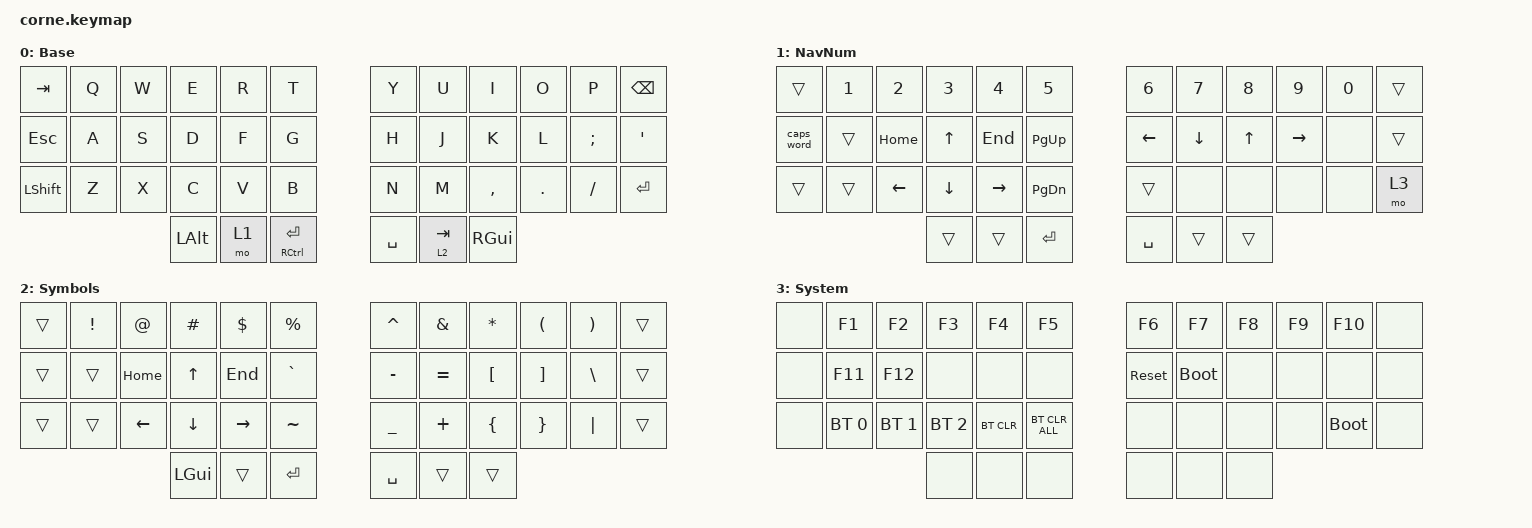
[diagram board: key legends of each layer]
#include <behaviors.dtsi>
#include <dt-bindings/zmk/bt.h>
#include <dt-bindings/zmk/keys.h>

#define DEF 0
#define NAV 1
#define SYM 2
#define ADJ 3

/ {
    behaviors {
        hm: homerow_mods {
            compatible = "zmk,behavior-hold-tap";
            label = "HOMEROW_MODS";
            #binding-cells = <2>;
            tapping-term-ms = <200>;
            quick_tap_ms = <0>;
            flavor = "tap-preferred";
            bindings = <&kp>, <&kp>;

            quick-tap-ms = <180>;
            global-quick-tap;
        };

        para: para {
            compatible = "zmk,behavior-tap-dance";
            label = "PARA";
            #binding-cells = <0>;
            bindings = <&kp LEFT_PARENTHESIS>, <&kp RIGHT_PARENTHESIS>;
        };

        caps: caps {
            compatible = "zmk,behavior-caps-word";
            label = "CAPS";
            #binding-cells = <0>;
            continue-list = <MINUS BACKSPACE>;
        };

        paraless: paraless {
            compatible = "zmk,behavior-mod-morph";
            label = "PARALESS";
            bindings = <&kp LEFT_PARENTHESIS>, <&kp LESS_THAN>;

            #binding-cells = <0>;
            mods = <(MOD_LSFT)>;
        };

        paragreat: paragreat {
            compatible = "zmk,behavior-mod-morph";
            label = "PARAGREAT";
            bindings = <&kp RIGHT_PARENTHESIS>, <&kp GREATER_THAN>;

            #binding-cells = <0>;
            mods = <(MOD_LSFT)>;
        };
    };

    combos {
        compatible = "zmk,combos";

        copy {
            bindings = <&kp K_COPY>;
            key-positions = <28 27>;
        };

        paste {
            bindings = <&kp K_PASTE>;
            key-positions = <26 27>;
        };
    };

    //

    keymap {
        compatible = "zmk,keymap";

        DEF {
            display-name = "Base";

            // -----------------------------------------------------------------------------------------
            // |  Q  |  W  |  E  |  R  |  T  |   |  Y  |  U   |  I  |  O  |  P  |
            // |  A  |  S  |  D  |  F  |  G  |   |  H  |  J   |  K  |  L  |  ;  |
            // |  Z  |  X  |  C  |  V  |  B  |   |  N  |  M   |  ,  |  .  |  /  |
            // | GUI | CTRL | SHFT | LWR | SPC |   | ENT | RSE  | BKSP | ALT | ESC |

            bindings = <
&kp TAB         &kp Q  &kp W  &kp E         &kp R  &kp T              &kp Y      &kp U      &kp I      &kp O    &kp P     &kp BACKSPACE
&kp ESC         &kp A  &kp S  &kp D         &kp F  &kp G              &kp H      &kp J      &kp K      &kp L    &kp SEMI  &kp SQT
&kp LEFT_SHIFT  &kp Z  &kp X  &kp C         &kp V  &kp B              &kp N      &kp M      &kp COMMA  &kp DOT  &kp FSLH  &kp ENTER
                              &kp LEFT_ALT  &mo 1  &mt RCTRL ENTER    &kp SPACE  &lt 2 TAB  &kp RGUI
            >;
        };

        NAV {
            display-name = "NavNum";

            // -----------------------------------------------------------------------------------------
            // |  TAB |  1  |  2  |  3  |  4  |  5  |   |  6  |  7  |  8  |  9  |  0  | BKSP |
            // | BTCLR| BT1 | BT2 | BT3 | BT4 | BT5 |   | LFT | DWN |  UP | RGT |     |      |
            // | SHFT |     |     |     |     |     |   |     |     |     |     |     |      |
            // | GUI | CTRL | SHFT | LWR | SPC |   | ENT | RSE  | BKSP | ALT | ESC |

            bindings = <
&trans      &kp N1  &kp N2    &kp N3        &kp N4           &kp N5           &kp N6          &kp N7    &kp N8        &kp N9     &kp N0  &trans
&caps_word  &trans  &kp HOME  &kp UP_ARROW  &kp END          &kp PAGE_UP      &kp LEFT_ARROW  &kp DOWN  &kp UP_ARROW  &kp RIGHT  &none   &trans
&trans      &trans  &kp LEFT  &kp DOWN      &kp RIGHT_ARROW  &kp PAGE_DOWN    &trans          &none     &none         &none      &none   &mo 3
                              &trans        &trans           &kp ENTER        &kp SPACE       &trans    &trans
            >;
        };

        SYM {
            display-name = "Symbols";

            // -----------------------------------------------------------------------------------------
            // |  TAB |  !  |  @  |  #  |  $  |  %  |   |  ^  |  &  |  *  |  (  |  )  | BKSP |
            // | CTRL |     |     |     |     |     |   |  -  |  =  |  [  |  ]  |  \  |  `   |
            // | SHFT |     |     |     |     |     |   |  _  |  +  |  {  |  }  | "|" |  ~   |
            //                    | GUI |     | SPC |   | ENT |     | ALT |

            bindings = <
&trans  &kp EXCL  &kp AT          &kp HASH        &kp DLLR         &kp PRCNT    &kp CARET  &kp AMPS   &kp ASTRK  &kp LEFT_PARENTHESIS  &kp RPAR  &trans
&trans  &trans    &kp HOME        &kp UP_ARROW    &kp END          &kp GRAVE    &kp MINUS  &kp EQUAL  &kp LBKT   &kp RBKT              &kp BSLH  &trans
&trans  &trans    &kp LEFT_ARROW  &kp DOWN_ARROW  &kp RIGHT_ARROW  &kp TILDE    &kp UNDER  &kp PLUS   &kp LBRC   &kp RBRC              &kp PIPE  &trans
                                  &kp LGUI        &trans           &kp ENTER    &kp SPACE  &trans     &trans
            >;
        };

        ADJ {
            display-name = "System";
            bindings = <
&none  &kp F1        &kp F2        &kp F3        &kp F4      &kp F5            &kp F6      &kp F7       &kp F8  &kp F9  &kp F10      &none
&none  &kp F11       &kp F12       &none         &none       &none             &sys_reset  &bootloader  &none   &none   &none        &none
&none  &bt BT_SEL 0  &bt BT_SEL 1  &bt BT_SEL 2  &bt BT_CLR  &bt BT_CLR_ALL    &none       &none        &none   &none   &bootloader  &none
                                   &none         &none       &none             &none       &none        &none
            >;
        };
    };

    conditional_layers {
        compatible = "zmk,conditional-layers";

        l3 {
            if-layers = <1 2>;
            then-layer = <3>;
        };
    };
};
